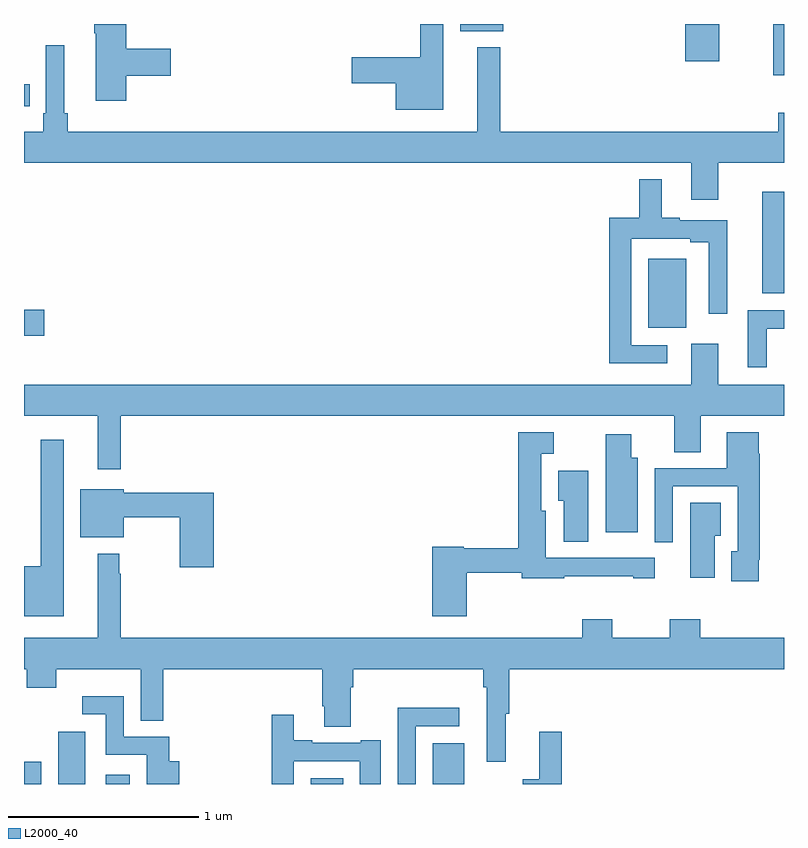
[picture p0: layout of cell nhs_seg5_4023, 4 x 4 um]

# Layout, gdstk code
import gdstk
lib = gdstk.Library(unit=1e-6, precision=1e-09)
def R(c, l, rs):  # rectangles x0, y0, x1, y1
    for r in rs: c.add(gdstk.rectangle(r[:2], r[2:], *l))
def P(c, l, *ps):  # polygons
    for p in ps: c.add(gdstk.Polygon(p, *l))
L2000_40 = (2000, 40)

nhs_seg5_4023 = lib.new_cell('nhs_seg5_4023')
R(nhs_seg5_4023, L2000_40, [(347,878.799,347.092,878.916), (347.18,878.799,347.323,879.073), (347.43,878.799,347.557,878.848), (348.509,878.799,348.679,878.83), (349.151,878.799,349.318,879.013), (347,881.159,347.107,881.294), (350.285,881.201,350.485,881.563), (350.885,881.381,351,881.917), (347,882.366,347.03,882.482), (350.944,882.53,351,882.799), (350.48,882.603,350.658,882.799), (349.295,882.761,349.522,882.799)])
P(nhs_seg5_4023, L2000_40, [(347.537,882.526),(347.773,882.526),(347.773,882.668),(347.537,882.668),(347.537,882.799),(347.371,882.799),(347.371,882.751),(347.378,882.751),(347.378,882.396),(347.537,882.396)],
  [(349.207,882.799),(349.086,882.799),(349.086,882.623),(348.726,882.623),(348.726,882.488),(348.956,882.488),(348.956,882.347),(349.207,882.347)],
  [(350.653,882.068),(351,882.068),(351,882.331),(350.969,882.331),(350.969,882.232),(349.507,882.232),(349.507,882.676),(349.385,882.676),(349.385,882.232),(347.231,882.232),(347.231,882.328),(347.212,882.328),(347.212,882.688),(347.115,882.688),(347.115,882.328),(347.102,882.328),(347.102,882.232),(347,882.232),(347,882.068),(350.513,882.068),(350.513,881.874),(350.653,881.874)],
  [(350.386,881.109),(350.196,881.109),(350.196,881.67),(350.507,881.67),(350.507,881.65),(350.604,881.65),(350.604,881.274),(350.702,881.274),(350.702,881.766),(350.452,881.766),(350.452,881.779),(350.356,881.779),(350.356,881.983),(350.239,881.983),(350.239,881.779),(350.08,881.779),(350.08,881.013),(350.386,881.013)],
  [(350.908,881.196),(351,881.196),(351,881.292),(350.81,881.292),(350.81,880.992),(350.908,880.992)],
  [(347.509,880.736),(350.423,880.736),(350.423,880.546),(350.563,880.546),(350.563,880.736),(351,880.736),(351,880.9),(350.653,880.9),(350.653,881.116),(350.513,881.116),(350.513,880.9),(347,880.9),(347,880.736),(347.387,880.736),(347.387,880.455),(347.509,880.455)],
  [(349.331,879.912),(349.619,879.912),(349.619,879.882),(349.843,879.882),(349.843,879.892),(350.207,879.892),(350.207,879.882),(350.319,879.882),(350.319,879.99),(349.747,879.99),(349.747,880.236),(349.723,880.236),(349.723,880.538),(349.789,880.538),(349.789,880.651),(349.602,880.651),(349.602,880.04),(349.314,880.04),(349.314,880.048),(349.148,880.048),(349.148,879.681),(349.331,879.681)],
  [(350.866,879.979),(350.873,879.979),(350.873,880.538),(350.867,880.538),(350.867,880.651),(350.699,880.651),(350.699,880.461),(350.319,880.461),(350.319,880.071),(350.415,880.071),(350.415,880.365),(350.757,880.365),(350.757,880.023),(350.723,880.023),(350.723,879.867),(350.866,879.867)],
  [(350.23,880.516),(350.197,880.516),(350.197,880.639),(350.063,880.639),(350.063,880.124),(350.23,880.124)],
  [(347.209,880.612),(347.088,880.612),(347.088,879.946),(347,879.946),(347,879.683),(347.209,879.683)],
  [(349.969,880.447),(349.811,880.447),(349.811,880.291),(349.841,880.291),(349.841,880.075),(349.969,880.075)],
  [(347.999,880.333),(347.524,880.333),(347.524,880.351),(347.297,880.351),(347.297,880.097),(347.524,880.097),(347.524,880.204),(347.821,880.204),(347.821,879.939),(347.999,879.939)],
  [(350.635,880.106),(350.668,880.106),(350.668,880.28),(350.507,880.28),(350.507,879.885),(350.635,879.885)],
  [(349.535,879.168),(349.553,879.168),(349.553,879.404),(351,879.404),(351,879.568),(350.558,879.568),(350.558,879.667),(350.398,879.667),(350.398,879.568),(350.097,879.568),(350.097,879.667),(349.937,879.667),(349.937,879.568),(347.509,879.568),(347.509,879.905),(347.501,879.905),(347.501,880.012),(347.387,880.012),(347.387,879.568),(347,879.568),(347,879.404),(347.014,879.404),(347.014,879.305),(347.169,879.305),(347.169,879.404),(347.615,879.404),(347.615,879.133),(347.734,879.133),(347.734,879.404),(348.569,879.404),(348.569,879.208),(348.581,879.208),(348.581,879.1),(348.721,879.1),(348.721,879.308),(348.734,879.308),(348.734,879.404),(349.417,879.404),(349.417,879.308),(349.436,879.308),(349.436,878.916),(349.535,878.916)],
  [(347.816,878.92),(347.764,878.92),(347.764,879.048),(347.526,879.048),(347.526,879.262),(347.307,879.262),(347.307,879.165),(347.43,879.165),(347.43,878.952),(347.645,878.952),(347.645,878.799),(347.816,878.799)],
  [(349.062,879.102),(349.291,879.102),(349.291,879.2),(348.966,879.2),(348.966,878.799),(349.062,878.799)],
  [(348.42,878.919),(348.767,878.919),(348.767,878.799),(348.877,878.799),(348.877,879.028),(348.773,879.028),(348.773,879.015),(348.517,879.015),(348.517,879.028),(348.421,879.028),(348.421,879.163),(348.304,879.163),(348.304,878.799),(348.42,878.799)],
  [(349.829,879.073),(349.712,879.073),(349.712,878.825),(349.626,878.825),(349.626,878.799),(349.829,878.799)])

lib.write_gds('nhs_seg5_4023.gds')
